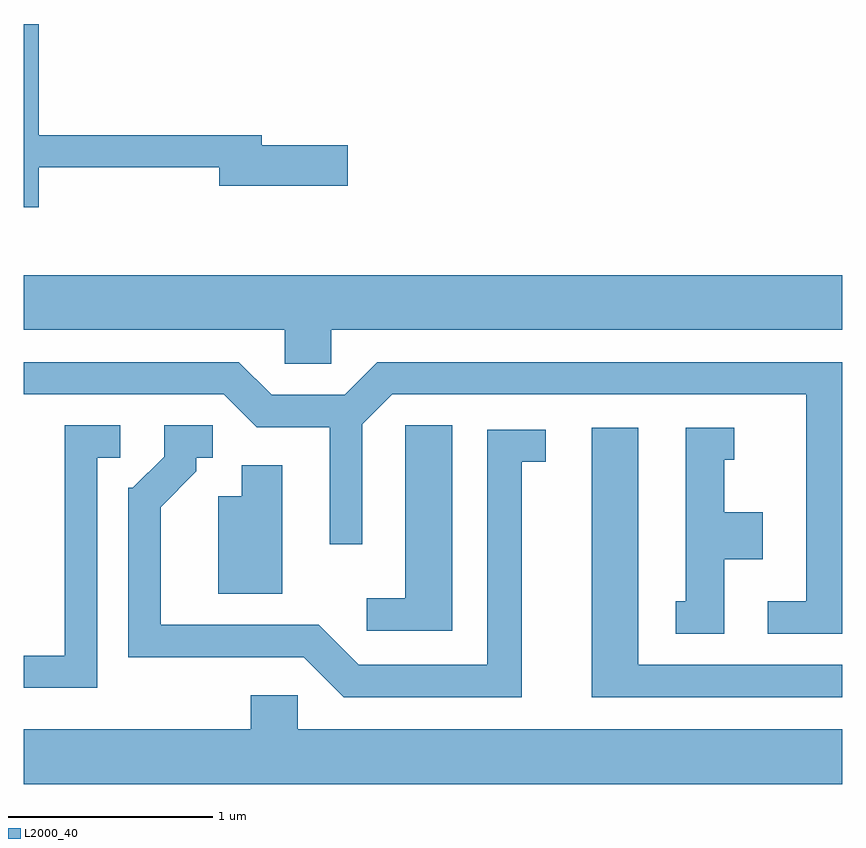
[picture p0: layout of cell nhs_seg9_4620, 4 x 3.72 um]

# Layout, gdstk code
import gdstk
lib = gdstk.Library(unit=1e-6, precision=1e-09)
def P(c, l, *ps):  # polygons
    for p in ps: c.add(gdstk.Polygon(p, *l))
L2000_40 = (2000, 40)

nhs_seg9_4620 = lib.new_cell('nhs_seg9_4620')
P(nhs_seg9_4620, L2000_40, [(321.684,1983.731),(322.566,1983.731),(322.566,1983.641),(323.194,1983.641),(323.194,1983.839),(322.774,1983.839),(322.774,1983.889),(321.684,1983.889),(321.684,1984.432),(321.611,1984.432),(321.611,1983.536),(321.684,1983.536)],
  [(323.114,1982.936),(325.611,1982.936),(325.611,1983.204),(321.611,1983.204),(321.611,1982.936),(322.886,1982.936),(322.886,1982.771),(323.114,1982.771)],
  [(325.611,1982.779),(323.339,1982.779),(323.179,1982.619),(322.822,1982.619),(322.662,1982.779),(321.611,1982.779),(321.611,1982.621),(322.589,1982.621),(322.749,1982.461),(323.106,1982.461),(323.106,1981.888),(323.264,1981.888),(323.264,1982.474),(323.412,1982.621),(325.436,1982.621),(325.436,1981.609),(325.248,1981.609),(325.248,1981.451),(325.611,1981.451)],
  [(321.969,1982.311),(322.083,1982.311),(322.083,1982.469),(321.811,1982.469),(321.811,1981.344),(321.611,1981.344),(321.611,1981.186),(321.969,1981.186)],
  [(324.044,1982.291),(324.163,1982.291),(324.163,1982.449),(323.876,1982.449),(323.876,1981.299),(323.247,1981.299),(323.052,1981.494),(322.279,1981.494),(322.279,1982.069),(322.454,1982.244),(322.454,1982.311),(322.533,1982.311),(322.533,1982.469),(322.296,1982.469),(322.296,1982.317),(322.144,1982.164),(322.121,1982.164),(322.121,1981.336),(322.979,1981.336),(323.174,1981.141),(324.044,1981.141)],
  [(323.704,1982.469),(323.476,1982.469),(323.476,1981.624),(323.288,1981.624),(323.288,1981.466),(323.704,1981.466)],
  [(325.611,1981.299),(324.614,1981.299),(324.614,1982.459),(324.386,1982.459),(324.386,1981.141),(325.611,1981.141)],
  [(325.034,1981.816),(325.224,1981.816),(325.224,1982.044),(325.034,1982.044),(325.034,1982.301),(325.083,1982.301),(325.083,1982.459),(324.846,1982.459),(324.846,1981.609),(324.798,1981.609),(324.798,1981.451),(325.034,1981.451)],
  [(322.874,1982.274),(322.676,1982.274),(322.676,1982.124),(322.561,1982.124),(322.561,1981.646),(322.874,1981.646)],
  [(322.721,1981.149),(322.721,1980.984),(321.611,1980.984),(321.611,1980.716),(325.611,1980.716),(325.611,1980.984),(322.949,1980.984),(322.949,1981.149)])

lib.write_gds('nhs_seg9_4620.gds')
